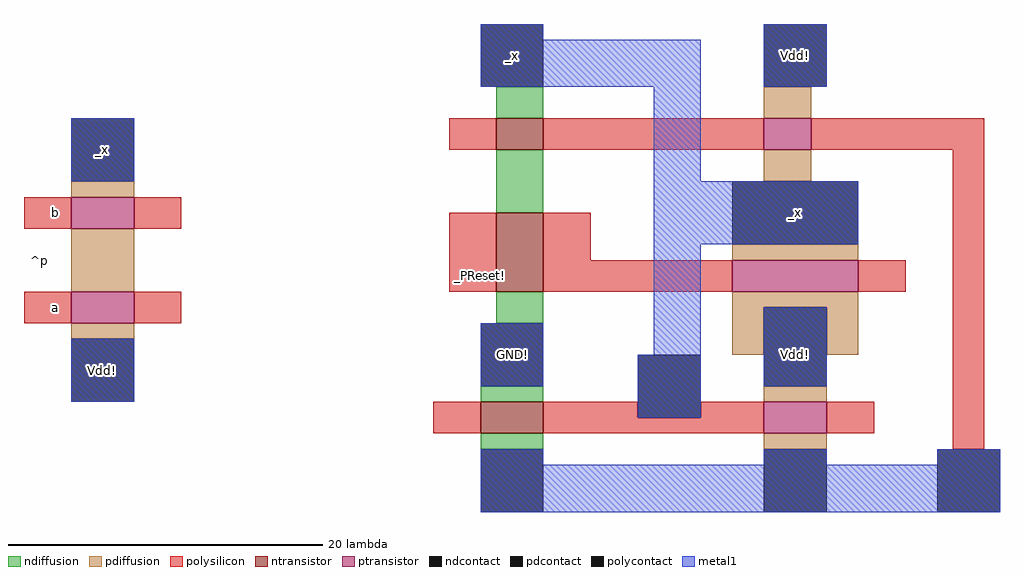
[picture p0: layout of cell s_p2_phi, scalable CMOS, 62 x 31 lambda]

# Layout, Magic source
magic
tech scmos
<< ndiffusion >>
rect 25 17 28 19
rect 25 11 28 15
rect 25 4 28 6
rect 24 -1 28 0
rect 24 -4 28 -3
<< pdiffusion >>
rect 42 17 45 19
rect -2 12 2 13
rect 42 13 45 15
rect -2 6 2 10
rect 40 8 48 9
rect -2 3 2 4
rect 40 5 48 6
rect 40 2 42 5
rect 46 2 48 5
rect 42 -1 46 0
rect 42 -4 46 -3
<< ntransistor >>
rect 25 15 28 17
rect 25 6 28 11
rect 24 -3 28 -1
<< ptransistor >>
rect 42 15 45 17
rect -2 10 2 12
rect 40 6 48 8
rect -2 4 2 6
rect 42 -3 46 -1
<< polysilicon >>
rect 22 15 25 17
rect 28 15 42 17
rect 45 15 56 17
rect -5 10 -2 12
rect 2 10 5 12
rect 22 6 25 11
rect 28 8 31 11
rect 28 6 40 8
rect 48 6 51 8
rect -5 4 -2 6
rect 2 4 5 6
rect 21 -3 24 -1
rect 28 -2 34 -1
rect 38 -2 42 -1
rect 28 -3 42 -2
rect 46 -3 49 -1
rect 54 -4 56 15
<< ndcontact >>
rect 24 19 28 23
rect 24 0 28 4
rect 24 -8 28 -4
<< pdcontact >>
rect 42 19 46 23
rect -2 13 2 17
rect 40 9 48 13
rect -2 -1 2 3
rect 42 0 46 5
rect 42 -8 46 -4
<< polycontact >>
rect 34 -2 38 2
rect 53 -8 57 -4
<< metal1 >>
rect 24 22 28 23
rect 24 19 38 22
rect 42 19 46 23
rect -2 13 2 17
rect 35 13 38 19
rect 35 9 48 13
rect -2 -1 2 3
rect 24 0 28 4
rect 35 2 38 9
rect 34 -2 38 2
rect 42 0 46 5
rect 24 -5 28 -4
rect 42 -5 46 -4
rect 53 -5 57 -4
rect 24 -8 57 -5
<< labels >>
rlabel polysilicon -3 11 -3 11 3 b
rlabel polysilicon -3 5 -3 5 3 a
rlabel space -6 -1 -2 17 7 ^p
rlabel polysilicon 24 7 24 7 1 _PReset!
rlabel pdcontact 0 15 0 15 1 _x
rlabel pdcontact 0 1 0 1 1 Vdd!
rlabel pdcontact 44 2 44 2 1 Vdd!
rlabel ndcontact 26 2 26 2 1 GND!
rlabel pdcontact 44 21 44 21 1 Vdd!
rlabel pdcontact 44 11 44 11 1 _x
rlabel ndcontact 26 21 26 21 5 _x
<< end >>
